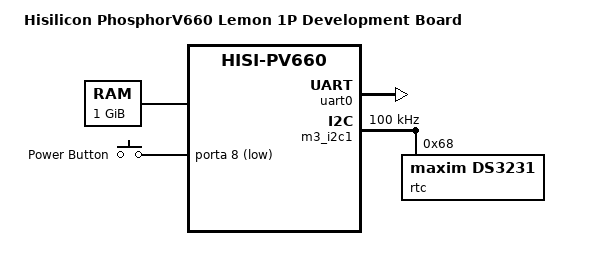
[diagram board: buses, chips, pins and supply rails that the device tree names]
/**
 * dts file for Hisilicon PhosphorV660 Lemon 1P Board
 *
 * Copyright (C) 2014,2015 Hisilicon Ltd.
 *
 * This program is free software; you can redistribute it and/or modify
 * it under the terms of the GNU General Public License version 2 as
 * publishhed by the Free Software Foundation.
 *
 */

/dts-v1/;

/include/ "hip05-2p1s.dtsi"
/include/ "hip05-lemon-pcie.dtsi"

/ {
	model = "Hisilicon PhosphorV660 Lemon 1P Development Board";
	compatible = "hisilicon,hip05-lemon", "hisilicon,hisi-pv660";

	memory@0 {
		device_type = "memory";
		reg = <0x0 0x0 0x0 0x40000000>;
	};

	numa-nodes-info {
		node0: p0-ta {
			mem-ranges = <0x0 0x0 0x0 0x0>;
			cpus-list = <&CPU0 &CPU1 &CPU2 &CPU3>,
				    <&CPU4 &CPU5 &CPU6 &CPU7>,
				    <&CPU8 &CPU9 &CPU10 &CPU11>,
				    <&CPU12 &CPU13 &CPU14 &CPU15>;
		};

		node1: p0-tc {
			mem-ranges = <0x0 0x0 0x0 0x0>;
			cpus-list = <&CPU16 &CPU17 &CPU18 &CPU19>,
				    <&CPU20 &CPU21 &CPU22 &CPU23>,
				    <&CPU24 &CPU25 &CPU26 &CPU27>,
				    <&CPU28 &CPU29 &CPU30 &CPU31>;
		};

		nodes-distance {
			distance-list = <&node0 &node1 15>;
		};
	};


	/include/ "hip05-lemon-hns.dtsi"

	chosen {
		bootargs = "rdinit=/init earlycon=uart8250,mmio32,0x60300000 pci=pcie_bus_perf pcie_aspm=off console=ttyS0,115200 initrd=0x7000000,350M";
		#bootargs = "root=/dev/sda1 rw earlycon=uart8250,mmio32,0x60300000 console=ttyS0,115200 pci=pcie_bus_perf";
	};

	gpio_keys {
		compatible = "gpio-keys";
		#address-cells = <1>;
		#size-cells = <0>;

		pwrbutton {
			label = "Power Button";
			gpios = <&porta 8 1>;
			linux,code = <116>;
			debounce-interval = <0>;
		};
	};


};

&uart0 {
	status = "okay";
};

&m3_i2c1 {
	clock-frequency = <100000>;
	status = "okay";

	rtc: ds3231@68 {
		compatible = "maxim,ds3231";
		reg = <0x68>;
	};
};
